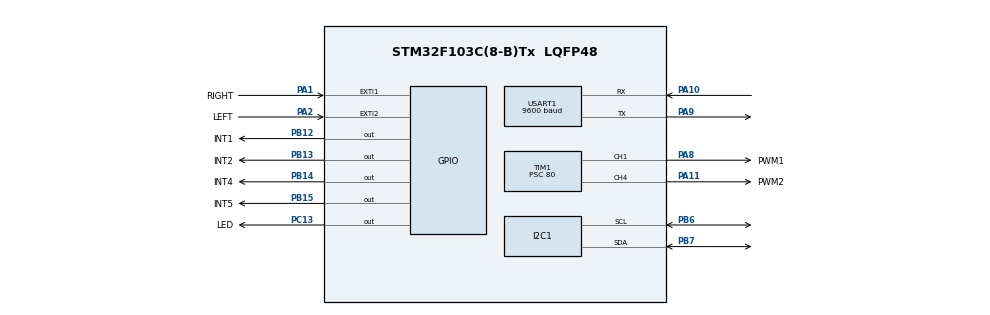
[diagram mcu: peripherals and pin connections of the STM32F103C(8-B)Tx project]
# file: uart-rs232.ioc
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Mcu.Family=STM32F1
Mcu.Name=STM32F103C(8-B)Tx
Mcu.Package=LQFP48
NVIC.EXTI1_IRQn=true\:0\:0\:false\:false\:true
NVIC.EXTI2_IRQn=true\:0\:0\:false\:false\:true
NVIC.PriorityGroup=NVIC_PRIORITYGROUP_4
NVIC.USART1_IRQn=true\:0\:0\:false\:false\:true
PA1.GPIO_Label=RIGHT
PA1.GPIO_ModeDefaultEXTI=GPIO_MODE_IT_FALLING
PA1.GPIO_PuPd=GPIO_PULLUP
PA1.Signal=GPXTI1
PA10.Mode=Asynchronous
PA10.Signal=USART1_RX
PA11.GPIO_Label=PWM2
PA11.Signal=S_TIM1_CH4
PA13.Mode=Serial_Wire
PA13.Signal=SYS_JTMS-SWDIO
PA14.Mode=Serial_Wire
PA14.Signal=SYS_JTCK-SWCLK
PA2.GPIO_Label=LEFT
PA2.GPIO_ModeDefaultEXTI=GPIO_MODE_IT_FALLING
PA2.GPIO_PuPd=GPIO_PULLUP
PA2.Signal=GPXTI2
PA8.GPIO_Label=PWM1
PA8.Signal=S_TIM1_CH1
PA9.Mode=Asynchronous
PA9.Signal=USART1_TX
PB12.GPIO_Label=INT1
PB12.GPIO_Speed=GPIO_SPEED_FREQ_HIGH
PB12.PinState=GPIO_PIN_SET
PB12.Signal=GPIO_Output
PB13.GPIO_Label=INT2
PB13.GPIO_Speed=GPIO_SPEED_FREQ_HIGH
PB13.PinState=GPIO_PIN_SET
PB13.Signal=GPIO_Output
PB14.GPIO_Label=INT4
PB14.GPIO_Speed=GPIO_SPEED_FREQ_HIGH
PB14.PinState=GPIO_PIN_SET
PB14.Signal=GPIO_Output
PB15.GPIO_Label=INT5
PB15.GPIO_Speed=GPIO_SPEED_FREQ_HIGH
PB15.PinState=GPIO_PIN_SET
PB15.Signal=GPIO_Output
PB6.Mode=I2C
PB6.Signal=I2C1_SCL
PB7.Mode=I2C
PB7.Signal=I2C1_SDA
PC13-TAMPER-RTC.GPIO_Label=LED
PC13-TAMPER-RTC.GPIO_Speed=GPIO_SPEED_FREQ_HIGH
PC13-TAMPER-RTC.PinState=GPIO_PIN_SET
PC13-TAMPER-RTC.Signal=GPIO_Output
PD0-OSC_IN.Mode=HSE-External-Oscillator
PD0-OSC_IN.Signal=RCC_OSC_IN
PD1-OSC_OUT.Mode=HSE-External-Oscillator
PD1-OSC_OUT.Signal=RCC_OSC_OUT
ProjectManager.HeapSize=0x200
ProjectManager.StackSize=0x400
ProjectManager.TargetToolchain=MDK-ARM V5
RCC.APB1Freq_Value=8000000
RCC.APB2Freq_Value=8000000
RCC.SYSCLKSource=RCC_SYSCLKSOURCE_HSE
SH.S_TIM1_CH1.0=TIM1_CH1,PWM Generation1 CH1
SH.S_TIM1_CH4.0=TIM1_CH4,PWM Generation4 CH4
TIM1.Channel-PWM\ Generation4\ CH4=TIM_CHANNEL_4
TIM1.Period=100
TIM1.Prescaler=80
USART1.BaudRate=9600
VP_TIM1_VS_ClockSourceINT.Mode=Internal
board=uart-rs232

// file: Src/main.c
/**
  ******************************************************************************
  * File Name          : main.c
  * Description        : Main program body
  ******************************************************************************
  *
  * COPYRIGHT(c) 2019 STMicroelectronics
  *
  * Redistribution and use in source and binary forms, with or without modification,
  * are permitted provided that the following conditions are met:
  *   1. Redistributions of source code must retain the above copyright notice,
  *      this list of conditions and the following disclaimer.
  *   2. Redistributions in binary form must reproduce the above copyright notice,
  *      this list of conditions and the following disclaimer in the documentation
  *      and/or other materials provided with the distribution.
  *   3. Neither the name of STMicroelectronics nor the names of its contributors
  *      may be used to endorse or promote products derived from this software
  *      without specific prior written permission.
  *
  * THIS SOFTWARE IS PROVIDED BY THE COPYRIGHT HOLDERS AND CONTRIBUTORS "AS IS"
  * AND ANY EXPRESS OR IMPLIED WARRANTIES, INCLUDING, BUT NOT LIMITED TO, THE
  * IMPLIED WARRANTIES OF MERCHANTABILITY AND FITNESS FOR A PARTICULAR PURPOSE ARE
  * DISCLAIMED. IN NO EVENT SHALL THE COPYRIGHT HOLDER OR CONTRIBUTORS BE LIABLE
  * FOR ANY DIRECT, INDIRECT, INCIDENTAL, SPECIAL, EXEMPLARY, OR CONSEQUENTIAL
  * DAMAGES (INCLUDING, BUT NOT LIMITED TO, PROCUREMENT OF SUBSTITUTE GOODS OR
  * SERVICES; LOSS OF USE, DATA, OR PROFITS; OR BUSINESS INTERRUPTION) HOWEVER
  * CAUSED AND ON ANY THEORY OF LIABILITY, WHETHER IN CONTRACT, STRICT LIABILITY,
  * OR TORT (INCLUDING NEGLIGENCE OR OTHERWISE) ARISING IN ANY WAY OUT OF THE USE
  * OF THIS SOFTWARE, EVEN IF ADVISED OF THE POSSIBILITY OF SUCH DAMAGE.
  *
  ******************************************************************************
  */
#include "stm32f1xx_hal.h"
#include "string.h"

/* USER CODE BEGIN Includes */
#define MPU6050ADRESS 0x68
/* USER CODE END Includes */

I2C_HandleTypeDef hi2c1;

TIM_HandleTypeDef htim1;

UART_HandleTypeDef huart1;

/* USER CODE BEGIN PV */
/* Private variables ---------------------------------------------------------*/
uint8_t buffrec[1];
char* bufftr;

/* USER CODE END PV */

void SystemClock_Config(void);
static void MX_GPIO_Init(void);
static void MX_TIM1_Init(void);
static void MX_USART1_UART_Init(void);
static void MX_I2C1_Init(void);

void HAL_TIM_MspPostInit(TIM_HandleTypeDef *htim);
void TransferData(char* Data);
void Banh1QuayThuan(void);
void Banh1QuayNghich(void);
void Banh2QuayThuan(void);
void Banh2QuayNghich(void);
void MotorStatus(void);
uint8_t temp_uart;
uint8_t i2cBuf[8];
uint16_t ax, ay, az;
float Xaccel, Yaccel, Zaccel;
/* USER CODE BEGIN PFP */
/* Private function prototypes -----------------------------------------------*/

/* USER CODE END PFP */

int main(void)
{

  /* MCU Configuration----------------------------------------------------------*/

  /* Reset of all peripherals, Initializes the Flash interface and the Systick. */
  HAL_Init();

  /* Configure the system clock */
  SystemClock_Config();

  /* Initialize all configured peripherals */
  MX_GPIO_Init();
  MX_TIM1_Init();
  MX_USART1_UART_Init();
  MX_I2C1_Init();

    /* clear data of arry buffrec[] */
    for (uint8_t i=0; i < 1; i++){
        buffrec[i] = 0;
    }
    temp_uart = 0;
    HAL_TIM_PWM_Start(&htim1, TIM_CHANNEL_1);
    HAL_TIM_PWM_Start(&htim1, TIM_CHANNEL_4);

  /* USER CODE BEGIN 2 */
    __HAL_UART_ENABLE_IT(&huart1, UART_IT_TC);
    __HAL_UART_ENABLE_IT(&huart1, UART_IT_RXNE);
  /* USER CODE END 2 */

    /* USER CODE BEGIN 3 */
    for (uint8_t i=0; i<255; i++){
        if (HAL_I2C_IsDeviceReady(&hi2c1, i, 1, 10) == HAL_OK){
            HAL_GPIO_TogglePin(GPIOC, GPIO_PIN_13);
            break;
        }
    }
    i2cBuf[0] = 28;
    i2cBuf[1] = 0x08;
    HAL_I2C_Master_Transmit(&hi2c1, MPU6050ADRESS, i2cBuf, 2, 10);

    i2cBuf[0] = 28;
    HAL_I2C_Master_Transmit(&hi2c1, MPU6050ADRESS, i2cBuf, 1, 10);

    i2cBuf[1] = 0x00;
    HAL_I2C_Master_Receive(&hi2c1, MPU6050ADRESS, &i2cBuf[1], 1, 10);

    /* USER CODE END 3 */
  /* Infinite loop */
  while (1)
  {
    if (temp_uart == 1){
        MotorStatus();
        temp_uart = 0;
    }

    i2cBuf[0] = 0x3B;
    HAL_I2C_Master_Transmit(&hi2c1, MPU6050ADRESS, i2cBuf, 1, 10);

    // read data
    i2cBuf[1] = 0x00;
    HAL_I2C_Master_Receive(&hi2c1, MPU6050ADRESS, &i2cBuf[1], 6, 10);

    ax = -(i2cBuf[1]<<8 | i2cBuf[2]);
    ay = -(i2cBuf[3]<<8 | i2cBuf[4]);
    az =  (i2cBuf[5]<<8 | i2cBuf[6]);

    Xaccel = ax/8192.0;
    Yaccel = ay/8192.0;
    Zaccel = az/8192.0;
  }
}

/** System Clock Configuration
*/
void SystemClock_Config(void)
{

  RCC_OscInitTypeDef RCC_OscInitStruct;
  RCC_ClkInitTypeDef RCC_ClkInitStruct;

  RCC_OscInitStruct.OscillatorType = RCC_OSCILLATORTYPE_HSE;
  RCC_OscInitStruct.HSEState = RCC_HSE_ON;
  RCC_OscInitStruct.PLL.PLLState = RCC_PLL_NONE;
  HAL_RCC_OscConfig(&RCC_OscInitStruct);

  RCC_ClkInitStruct.ClockType = RCC_CLOCKTYPE_HCLK|RCC_CLOCKTYPE_SYSCLK
                              |RCC_CLOCKTYPE_PCLK1|RCC_CLOCKTYPE_PCLK2;
  RCC_ClkInitStruct.SYSCLKSource = RCC_SYSCLKSOURCE_HSE;
  RCC_ClkInitStruct.AHBCLKDivider = RCC_SYSCLK_DIV1;
  RCC_ClkInitStruct.APB1CLKDivider = RCC_HCLK_DIV1;
  RCC_ClkInitStruct.APB2CLKDivider = RCC_HCLK_DIV1;
  HAL_RCC_ClockConfig(&RCC_ClkInitStruct, FLASH_LATENCY_0);

  HAL_SYSTICK_Config(HAL_RCC_GetHCLKFreq()/1000);

  HAL_SYSTICK_CLKSourceConfig(SYSTICK_CLKSOURCE_HCLK);

  /* SysTick_IRQn interrupt configuration */
  HAL_NVIC_SetPriority(SysTick_IRQn, 0, 0);
}

/* I2C1 init function */
void MX_I2C1_Init(void)
{
  hi2c1.Instance = I2C1;
  hi2c1.Init.ClockSpeed = 100000;
  hi2c1.Init.DutyCycle = I2C_DUTYCYCLE_2;
  hi2c1.Init.OwnAddress1 = 0;
  hi2c1.Init.AddressingMode = I2C_ADDRESSINGMODE_7BIT;
  hi2c1.Init.DualAddressMode = I2C_DUALADDRESS_DISABLE;
  hi2c1.Init.OwnAddress2 = 0;
  hi2c1.Init.GeneralCallMode = I2C_GENERALCALL_DISABLE;
  hi2c1.Init.NoStretchMode = I2C_NOSTRETCH_DISABLE;
  HAL_I2C_Init(&hi2c1);

}

/* TIM1 init function */
void MX_TIM1_Init(void)
{

  TIM_ClockConfigTypeDef sClockSourceConfig;
  TIM_MasterConfigTypeDef sMasterConfig;
  TIM_BreakDeadTimeConfigTypeDef sBreakDeadTimeConfig;
  TIM_OC_InitTypeDef sConfigOC;

  htim1.Instance = TIM1;
  htim1.Init.Prescaler = 80;
  htim1.Init.CounterMode = TIM_COUNTERMODE_UP;
  htim1.Init.Period = 100;
  htim1.Init.ClockDivision = TIM_CLOCKDIVISION_DIV1;
  htim1.Init.RepetitionCounter = 0;
  HAL_TIM_Base_Init(&htim1);

  sClockSourceConfig.ClockSource = TIM_CLOCKSOURCE_INTERNAL;
  HAL_TIM_ConfigClockSource(&htim1, &sClockSourceConfig);

  HAL_TIM_PWM_Init(&htim1);

  sMasterConfig.MasterOutputTrigger = TIM_TRGO_RESET;
  sMasterConfig.MasterSlaveMode = TIM_MASTERSLAVEMODE_DISABLE;
  HAL_TIMEx_MasterConfigSynchronization(&htim1, &sMasterConfig);

  sBreakDeadTimeConfig.OffStateRunMode = TIM_OSSR_DISABLE;
  sBreakDeadTimeConfig.OffStateIDLEMode = TIM_OSSI_DISABLE;
  sBreakDeadTimeConfig.LockLevel = TIM_LOCKLEVEL_OFF;
  sBreakDeadTimeConfig.DeadTime = 0;
  sBreakDeadTimeConfig.BreakState = TIM_BREAK_DISABLE;
  sBreakDeadTimeConfig.BreakPolarity = TIM_BREAKPOLARITY_HIGH;
  sBreakDeadTimeConfig.AutomaticOutput = TIM_AUTOMATICOUTPUT_DISABLE;
  HAL_TIMEx_ConfigBreakDeadTime(&htim1, &sBreakDeadTimeConfig);

  sConfigOC.OCMode = TIM_OCMODE_PWM1;
  sConfigOC.Pulse = 0;
  sConfigOC.OCPolarity = TIM_OCPOLARITY_HIGH;
  sConfigOC.OCNPolarity = TIM_OCNPOLARITY_HIGH;
  sConfigOC.OCFastMode = TIM_OCFAST_DISABLE;
  sConfigOC.OCIdleState = TIM_OCIDLESTATE_RESET;
  sConfigOC.OCNIdleState = TIM_OCNIDLESTATE_RESET;
  HAL_TIM_PWM_ConfigChannel(&htim1, &sConfigOC, TIM_CHANNEL_1);

  HAL_TIM_PWM_ConfigChannel(&htim1, &sConfigOC, TIM_CHANNEL_4);

  HAL_TIM_MspPostInit(&htim1);

}

/* USART1 init function */
void MX_USART1_UART_Init(void)
{

  huart1.Instance = USART1;
  huart1.Init.BaudRate = 9600;
  huart1.Init.WordLength = UART_WORDLENGTH_8B;
  huart1.Init.StopBits = UART_STOPBITS_1;
  huart1.Init.Parity = UART_PARITY_NONE;
  huart1.Init.Mode = UART_MODE_TX_RX;
  huart1.Init.HwFlowCtl = UART_HWCONTROL_NONE;
  huart1.Init.OverSampling = UART_OVERSAMPLING_16;
  HAL_UART_Init(&huart1);

}

/** Configure pins as
        * Analog
        * Input
        * Output
        * EVENT_OUT
        * EXTI
*/
void MX_GPIO_Init(void)
{

  GPIO_InitTypeDef GPIO_InitStruct;

  /* GPIO Ports Clock Enable */
  __HAL_RCC_GPIOC_CLK_ENABLE();
  __HAL_RCC_GPIOD_CLK_ENABLE();
  __HAL_RCC_GPIOA_CLK_ENABLE();
  __HAL_RCC_GPIOB_CLK_ENABLE();

  /*Configure GPIO pin Output Level */
  HAL_GPIO_WritePin(LED_GPIO_Port, LED_Pin, GPIO_PIN_SET);

  /*Configure GPIO pin Output Level */
  HAL_GPIO_WritePin(GPIOB, INT1_Pin|INT2_Pin|INT4_Pin|INT5_Pin, GPIO_PIN_SET);

  /*Configure GPIO pin : LED_Pin */
  GPIO_InitStruct.Pin = LED_Pin;
  GPIO_InitStruct.Mode = GPIO_MODE_OUTPUT_PP;
  GPIO_InitStruct.Speed = GPIO_SPEED_FREQ_HIGH;
  HAL_GPIO_Init(LED_GPIO_Port, &GPIO_InitStruct);

  /*Configure GPIO pins : RIGHT_Pin LEFT_Pin */
  GPIO_InitStruct.Pin = RIGHT_Pin|LEFT_Pin;
  GPIO_InitStruct.Mode = GPIO_MODE_IT_FALLING;
  GPIO_InitStruct.Pull = GPIO_PULLUP;
  HAL_GPIO_Init(GPIOA, &GPIO_InitStruct);

  /*Configure GPIO pins : INT1_Pin INT2_Pin INT4_Pin INT5_Pin */
  GPIO_InitStruct.Pin = INT1_Pin|INT2_Pin|INT4_Pin|INT5_Pin;
  GPIO_InitStruct.Mode = GPIO_MODE_OUTPUT_PP;
  GPIO_InitStruct.Speed = GPIO_SPEED_FREQ_HIGH;
  HAL_GPIO_Init(GPIOB, &GPIO_InitStruct);

  /* EXTI interrupt init*/
  HAL_NVIC_SetPriority(EXTI1_IRQn, 0, 0);
  HAL_NVIC_EnableIRQ(EXTI1_IRQn);

  HAL_NVIC_SetPriority(EXTI2_IRQn, 0, 0);
  HAL_NVIC_EnableIRQ(EXTI2_IRQn);

}

/* USER CODE BEGIN 4 */
void TransferData(char* Data){
    bufftr = Data;
}
/* USER CODE END 4 */

/* USER CODE BEGIN 5 */
void Banh1QuayThuan(void){
    HAL_GPIO_WritePin(GPIOB, INT1_Pin, GPIO_PIN_SET);
    HAL_GPIO_WritePin(GPIOB, INT2_Pin, GPIO_PIN_RESET);
}
/* USER CODE END 5 */

/* USER CODE BEGIN 6 */
void Banh1QuayNghich(void){
    HAL_GPIO_WritePin(GPIOB, INT1_Pin, GPIO_PIN_RESET);
    HAL_GPIO_WritePin(GPIOB, INT2_Pin, GPIO_PIN_SET);
}
/* USER CODE END 6 */

/* USER CODE BEGIN 7 */
void Banh2QuayThuan(void){
    HAL_GPIO_WritePin(GPIOB, INT4_Pin, GPIO_PIN_SET);
    HAL_GPIO_WritePin(GPIOB, INT5_Pin, GPIO_PIN_RESET);
}
/* USER CODE END 7 */

/* USER CODE BEGIN 8 */
void Banh2QuayNghich(void){
    HAL_GPIO_WritePin(GPIOB, INT4_Pin, GPIO_PIN_RESET);
    HAL_GPIO_WritePin(GPIOB, INT5_Pin, GPIO_PIN_SET);
}
/* USER CODE END 8 */

/* USER CODE END 9 */
void MotorStatus(void){
    switch(buffrec[0]){
        /* Motor Speed */
        case 48:{TIM1->CCR1 = 0; TIM1->CCR4 = 0; break;}    /* 0% */
        case 49:{TIM1->CCR1 = 10; TIM1->CCR4 = 10; break;}    /* 10% */
        case 50:{TIM1->CCR1 = 20; TIM1->CCR4 = 20; break;}    /* 20% */
        case 51:{TIM1->CCR1 = 30; TIM1->CCR4 = 30; break;}    /* 30% */
        case 52:{TIM1->CCR1 = 40; TIM1->CCR4 = 40; break;}    /* 40% */
        case 53:{TIM1->CCR1 = 50; TIM1->CCR4 = 50; break;}    /* 50% */
        case 54:{TIM1->CCR1 = 60; TIM1->CCR4 = 60; break;}    /* 60% */
        case 55:{TIM1->CCR1 = 70; TIM1->CCR4 = 70; break;}    /* 70% */
        case 56:{TIM1->CCR1 = 80; TIM1->CCR4 = 80; break;}    /* 80% */
        case 57:{TIM1->CCR1 = 90; TIM1->CCR4 = 90; break;}    /* 90% */
        case 113:{TIM1->CCR1 = 100; TIM1->CCR4 = 100; break;}    /* 100% */
        /* END Motor Speed */

        /* Move Status */
        case 70:{Banh1QuayThuan(); Banh2QuayThuan(); break;}   /* Forward */
        case 66:{Banh1QuayNghich(); Banh2QuayNghich(); break;}   /* Back */
        case 76:{; break;}   /* Left */
        case 82:{; break;}   /* Right */
        case 71:{; break;}   /* Forward Left */
        case 73:{; break;}   /* Forward Right */
        case 72:{; break;}   /* Back Left */
        case 74:{; break;}   /* Back Right */
        case 83:{; break;}   /* Stop */
        /* END Move Status */
    }
}
/* USER CODE END 9 */

/************************ (C) COPYRIGHT STMicroelectronics *****END OF FILE****/
